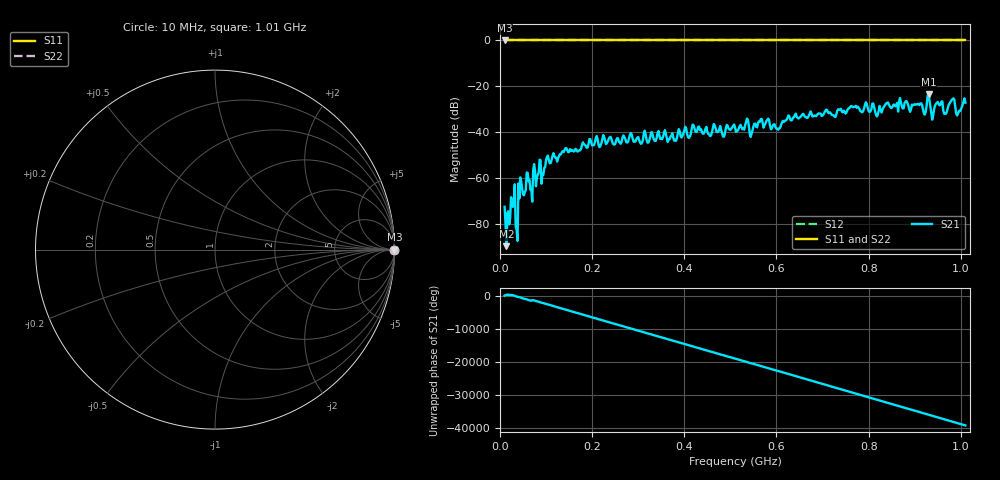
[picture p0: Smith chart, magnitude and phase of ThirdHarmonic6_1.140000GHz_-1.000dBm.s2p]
! 8/16/2025 11:11:54 AM
! C:\ANRITSUVNA\TEMP\TEMP.S2P
! CHANNEL.1
! TR.MEASUREMENT
! RAW.DATA
! RF.CORRECTION.OFF
! AVERAGING.OFF
! IF.BANDWIDTH: 5KHZ
! SWEEPTYPE:  FREQ.SWEEP(Linear)
! Reference Plane Port Info
! PORT:  PORT1  PORT2
! DISTANCE:  0  m  0  m
! TIME:  0  s  0  s
! PHASE.OFFSET:  0  deg.  0  deg.
! LOSS:  0  dB  0  dB
! REF.LOSS:  0  dB  0  dB
! REF.FREQ:  0  Hz  0  Hz
! Power Info
! POWER:  -20  dBm  -20  dBm
! EFF.POWER:  -20  dBm  -20  dBm
! SOURCE.ATTEN:  0  dB  0  dB
! TEST.ATTEN:  0  dB  0  dB
# GHZ S RI R 50.0
! FREQ.GHZ  S11RE  S11IM  S21RE  S21IM  S12RE  S12IM  S22RE  S22IM
!; PortSelection: Port_12
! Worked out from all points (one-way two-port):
!   501 points, 10 MHz to 1.01 GHz, reference 50 ohm
!   highest |S21| = -23.27 dB at 930 MHz (marker M1); lowest = -89.5 dB at 14 MHz (marker M2)
!   lowest |S11| = 0.0 dB at 10 MHz (marker M3)
!   |S11| at or under -10 dB: nowhere
!   |S22| runs from 0.0 to 0.0 dB; largest |S21 - S12| = 1.1
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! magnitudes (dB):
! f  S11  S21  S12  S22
! 10 MHz  0.0  -72.4  0.0  0.0
! 14 MHz  0.0  -89.5  0.0  0.0
! 28 MHz  0.0  -72.4  0.0  0.0
! 38 MHz  0.0  -87.2  0.0  0.0
! 44 MHz  0.0  -59.6  0.0  0.0
! 52 MHz  0.0  -67.3  0.0  0.0
! 62 MHz  0.0  -61.2  0.0  0.0
! 66 MHz  0.0  -65.0  0.0  0.0
! 102 MHz  0.0  -50.6  0.0  0.0
! 178 MHz  0.0  -45.4  0.0  0.0
! 344 MHz  0.0  -39.4  0.0  0.0
! 510 MHz  0.0  -37.7  0.0  0.0
! 604 MHz  0.0  -38.8  0.0  0.0
! 678 MHz  0.0  -33.1  0.0  0.0
! 844 MHz  0.0  -28.0  0.0  0.0
! 922 MHz  0.0  -32.2  0.0  0.0
! 930 MHz  0.0  -23.3  0.0  0.0
! 938 MHz  0.0  -34.4  0.0  0.0
! 966 MHz  0.0  -31.9  0.0  0.0
! 982 MHz  0.0  -25.5  0.0  0.0
! 994 MHz  0.0  -31.8  0.0  0.0
! 1.01 GHz  0.0  -27.0  0.0  0.0
